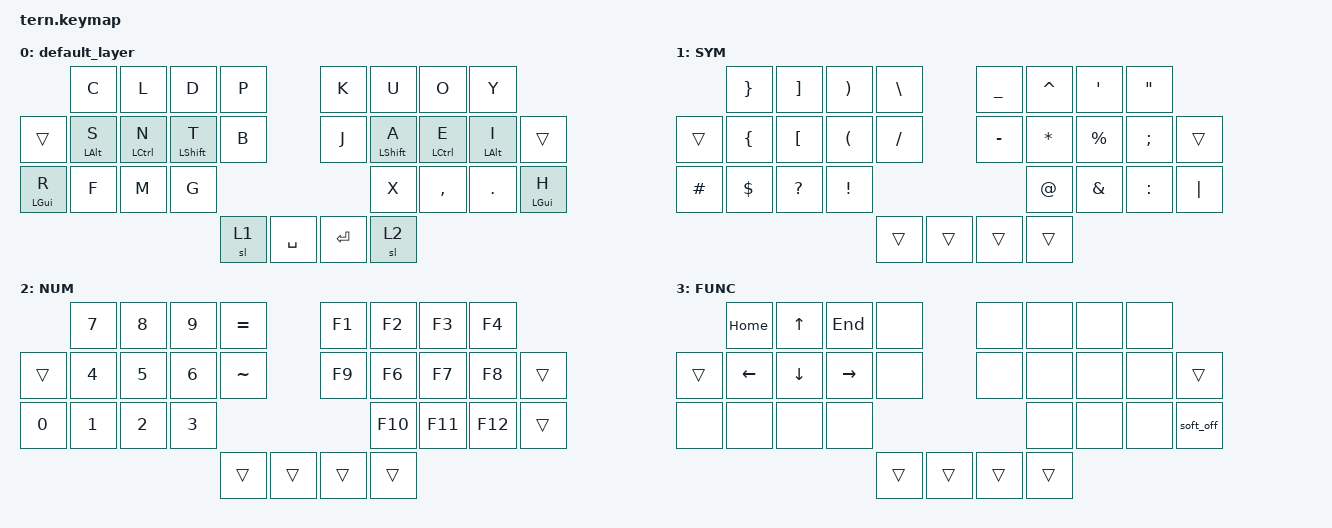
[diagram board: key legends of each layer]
#include <behaviors.dtsi>
#include <dt-bindings/zmk/keys.h>

/* Layers */

#define DEF 0
#define NAV 1
#define SYM 2
#define NUM 3

/* Shortcuts */

#define CUT LC(X)
#define COPY LC(C)
#define PASTE LC(V)
#define UNDO LC(Z)
#define ALL LC(A)
#define TOP LC(HOME)
#define BTM LC(END)

/* Behavior Settings */

&mt {
    quick-tap-ms = <100>;
    global-quick-tap;
    flavor = "tap-preferred";
    tapping-term-ms = <250>;
};

&sk {
    release-after-ms = <250>;
    quick-release;
};

&sl { release-after-ms = <250>; };

/ {
    conditional_layers {
        compatible = "zmk,conditional-layers";

        tri_layer {
            if-layers = <1 2>;
            then-layer = <3>;
        };
    };

    combos {
        compatible = "zmk,combos";

        /*                KEY POSITIONS

                 0   1   2   3      4   5   6   7
            8    9  10  11  12      13  14  15  16  17
            18  19  20  21              22  23  24  25
                        26  27     28  29              */
        /* Letters */

        v {
            key-positions = <0 1>;
            bindings = <&kp V>;
            layers = <0>;
        };

        q {
            key-positions = <1 2>;
            bindings = <&kp Q>;
            layers = <0>;
        };

        z {
            key-positions = <19 20>;
            bindings = <&kp Z>;
            layers = <0>;
        };

        /* Brackets */

        lbrc {
            key-positions = <0 9>;
            bindings = <&kp LEFT_BRACE>;
            layers = <0>;
        };

        rbrc {
            key-positions = <7 16>;
            bindings = <&kp RIGHT_BRACE>;
            layers = <0>;
        };

        lbkt {
            key-positions = <1 10>;
            bindings = <&kp LEFT_BRACKET>;
            layers = <0>;
        };

        rbkt {
            key-positions = <6 15>;
            bindings = <&kp RIGHT_BRACKET>;
            layers = <0>;
        };

        lpar {
            key-positions = <2 11>;
            bindings = <&kp LEFT_PARENTHESIS>;
            layers = <0>;
        };

        rpar {
            key-positions = <5 14>;
            bindings = <&kp RIGHT_PARENTHESIS>;
            layers = <0>;
        };

        /* Convenience */

        del {
            key-positions = <4 5>;
            bindings = <&kp DEL>;
            layers = <0>;
        };

        esc {
            key-positions = <4 13>;
            bindings = <&kp ESC>;
            layers = <0>;
        };

        ins {
            bindings = <&kp INS>;
            key-positions = <5 6>;
            layers = <0>;
        };

        bpsc {
            bindings = <&kp BACKSPACE>;
            key-positions = <6 7>;
            layers = <0>;
        };

        pscn {
            bindings = <&kp PRINTSCREEN>;
            key-positions = <24 25>;
            layers = <0>;
        };

        tab {
            bindings = <&kp TAB>;
            key-positions = <0 8>;
            layers = <0>;
        };

        w {
            bindings = <&kp W>;
            key-positions = <9 10>;
            layers = <0>;
        };

        quote {
            bindings = <&kp SQT>;
            key-positions = <16 24>;
            layers = <0>;
        };

        less_than {
            bindings = <&kp LESS_THAN>;
            key-positions = <21 11>;
            layers = <0>;
        };

        greater_than {
            bindings = <&kp GREATER_THAN>;
            key-positions = <14 22>;
            layers = <0>;
        };

        plus {
            bindings = <&kp PLUS>;
            key-positions = <3 12>;
            layers = <2>;
        };
    };

    keymap {
        compatible = "zmk,keymap";

        default_layer {
            bindings = <
                &kp C           &kp L        &kp D             &kp P                          &kp K  &kp U             &kp O        &kp Y
&trans          &mt LEFT_ALT S  &mt LCTRL N  &mt LEFT_SHIFT T  &kp B                          &kp J  &mt LEFT_SHIFT A  &mt LCTRL E  &mt LEFT_ALT I  &trans
&mt LEFT_GUI R  &kp F           &kp M        &kp G                                                   &kp X             &kp COMMA    &kp DOT         &mt LEFT_GUI H
                                                               &sl 1  &kp SPACE    &kp ENTER  &sl 2
            >;
        };

        sym_layer {
            bindings = <
          &kp RIGHT_BRACE  &kp RIGHT_BRACKET  &kp RIGHT_PARENTHESIS  &kp BACKSLASH                    &kp UNDER  &kp CARET    &kp SQT        &kp DOUBLE_QUOTES
&trans    &kp LEFT_BRACE   &kp LEFT_BRACKET   &kp LEFT_PARENTHESIS   &kp SLASH                        &kp MINUS  &kp ASTRK    &kp PERCENT    &kp SEMICOLON      &trans
&kp HASH  &kp DOLLAR       &kp QUESTION       &kp EXCLAMATION                                                    &kp AT_SIGN  &kp AMPERSAND  &kp COLON          &kp PIPE
                                                                     &trans         &trans    &trans  &trans
            >;

            label = "SYM";
        };

        num_layer {
            bindings = <
        &kp N7  &kp N8  &kp N9  &kp EQUAL                    &kp F1  &kp F2   &kp F3   &kp F4
&trans  &kp N4  &kp N5  &kp N6  &kp TILDE                    &kp F9  &kp F6   &kp F7   &kp F8   &trans
&kp N0  &kp N1  &kp N2  &kp N3                                       &kp F10  &kp F11  &kp F12  &trans
                                &trans     &trans    &trans  &trans
            >;

            label = "NUM";
        };

        func_layer {
            bindings = <
        &kp HOME  &kp UP    &kp END    &none                     &none   &none  &none  &none
&trans  &kp LEFT  &kp DOWN  &kp RIGHT  &none                     &none   &none  &none  &none  &trans
&none   &none     &none     &none                                        &none  &none  &none  &soft_off
                                       &trans  &trans    &trans  &trans
            >;

            label = "FUNC";
        };
    };
};
